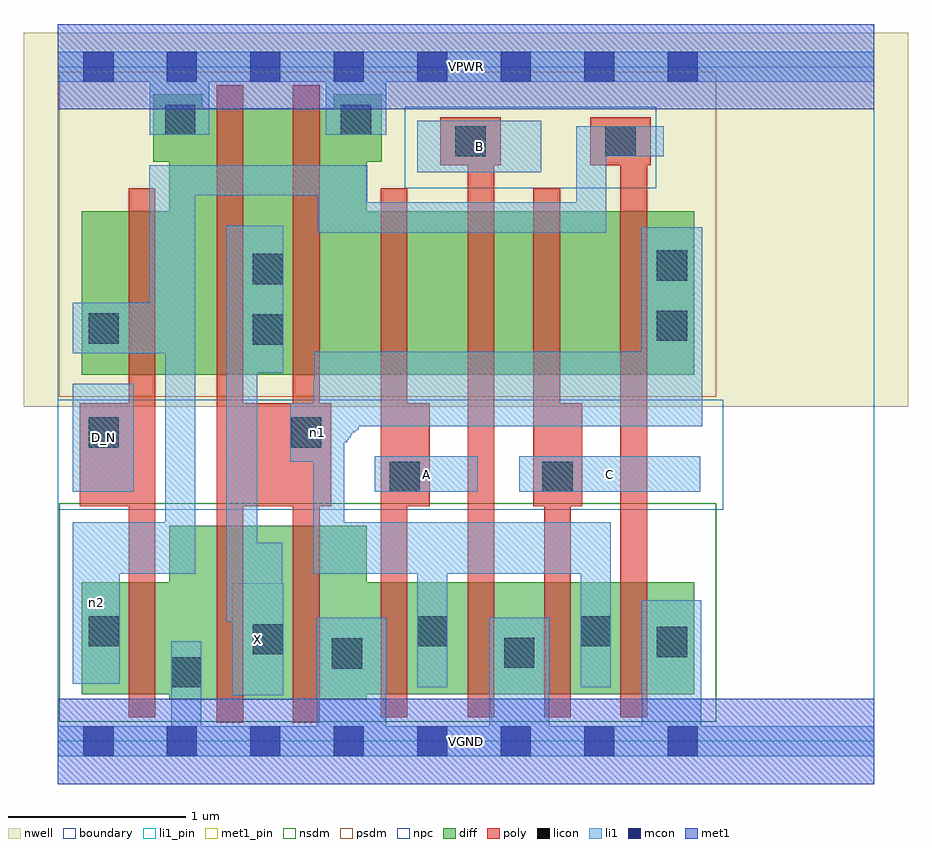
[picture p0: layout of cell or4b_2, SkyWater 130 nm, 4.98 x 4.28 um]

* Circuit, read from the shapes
.subckt or4b_2 A B C D_N VGND VPWR X n1 n2
XM1 VGND D_N n2 VSUBS sky130_fd_pr__nfet_01v8 w=0.63 l=0.15
XM2 X n1 VGND VSUBS sky130_fd_pr__nfet_01v8 w=0.98 l=0.15 m=2
XM3 n1 A VGND VSUBS sky130_fd_pr__nfet_01v8 w=0.63 l=0.15
XM4 VGND B n1 VSUBS sky130_fd_pr__nfet_01v8 w=0.63 l=0.15
XM5 n1 C VGND VSUBS sky130_fd_pr__nfet_01v8 w=0.63 l=0.15
XM6 VGND n2 n1 VSUBS sky130_fd_pr__nfet_01v8 w=0.63 l=0.15
XM7 VPWR D_N n2 n3 sky130_fd_pr__pfet_01v8 w=0.92 l=0.15
XM8 X n1 VPWR n3 sky130_fd_pr__pfet_01v8 w=1.5 l=0.15 m=2
XM9 n4 A VPWR n3 sky130_fd_pr__pfet_01v8 w=0.92 l=0.15
XM10 n5 B n4 n3 sky130_fd_pr__pfet_01v8 w=0.92 l=0.15
XM11 n6 C n5 n3 sky130_fd_pr__pfet_01v8 w=0.92 l=0.15
XM12 n1 n2 n6 n3 sky130_fd_pr__pfet_01v8 w=0.92 l=0.15
.ends

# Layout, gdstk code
import gdstk
lib = gdstk.Library(unit=1e-6, precision=1e-09)
def R(c, l, rs):  # rectangles x0, y0, x1, y1
    for r in rs: c.add(gdstk.rectangle(r[:2], r[2:], *l))
def A(c, l, x, y, w, h, nx, ny, dx, dy):  # array of equal rectangles
    R(c, l, [(x+i*dx, y+j*dy, x+i*dx+w, y+j*dy+h) for i in range(nx) for j in range(ny)])
nwell = (64, 20)
diff = (65, 20)
poly = (66, 20)
licon = (66, 44)
li1_pin = (67, 16)
li1 = (67, 20)
mcon = (67, 44)
met1_pin = (68, 16)
met1 = (68, 20)
nsdm = (93, 44)
psdm = (94, 20)
npc = (95, 20)
boundary = (235, 4)

or4b_2 = lib.new_cell('or4b_2')
R(or4b_2, nwell, [(-0.19,1.885,4.79,3.99), (0,1.885,4.6,3.99)])
R(or4b_2, diff, [(0.63,0.235,1.74,1.215), (0.135,0.265,3.585,0.895), (0.135,2.065,3.585,2.985), (0.63,2.065,1.74,3.565), (0.54,3.265,1.825,3.565), (0.54,3.265,0.815,3.645), (1.555,3.265,1.825,3.645)])
R(or4b_2, poly, [(0.895,0.105,1.045,3.695), (1.325,0.105,1.475,3.695), (0.4,0.135,0.55,3.115), (1.82,0.135,1.97,3.115), (2.31,0.135,2.46,3.515), (2.74,0.135,2.89,1.905), (3.17,0.135,3.32,3.515), (0.125,1.325,0.55,1.905), (0.895,1.325,1.54,1.905), (1.82,1.325,2.095,1.905), (2.68,1.325,2.955,1.905), (2.68,1.325,2.83,3.115), (2.155,3.245,2.495,3.515), (3,3.245,3.34,3.515)])
R(or4b_2, licon, [(0.64,0.305,0.81,0.475), (1.545,0.41,1.715,0.58), (2.515,0.415,2.685,0.585), (3.375,0.475,3.545,0.645), (1.1,0.49,1.27,0.66), (0.175,0.535,0.345,0.705), (2.025,0.535,2.195,0.705), (2.945,0.535,3.115,0.705), (1.87,1.405,2.04,1.575), (2.73,1.405,2.9,1.575), (0.175,1.655,0.345,1.825), (1.315,1.655,1.485,1.825), (1.1,2.235,1.27,2.405), (0.175,2.24,0.345,2.41), (3.375,2.255,3.545,2.425), (1.1,2.575,1.27,2.745), (3.375,2.595,3.545,2.765), (2.24,3.295,2.41,3.465), (3.085,3.295,3.255,3.465), (0.605,3.415,0.775,3.585), (1.595,3.415,1.765,3.585)])
R(or4b_2, li1_pin, [(0.985,0.26,1.27,0.89), (0.085,1.405,0.43,2.015), (1.785,1.405,2.365,1.605), (2.6,1.405,3.62,1.605), (2.025,3.205,2.725,3.495)])
R(or4b_2, li1, [(0,-0.085,4.6,0.085), (0.64,-0.085,0.81,0.565), (1.46,-0.085,1.85,0.695), (2.43,-0.085,2.77,0.695), (3.29,-0.085,3.625,0.795), (0.985,0.26,1.27,0.89), (2.025,0.305,2.195,1.235), (2.945,0.305,3.115,1.235), (0.085,0.325,0.35,1.235), (0.95,0.675,1.125,2.905), (0.95,0.675,1.265,1.12), (0.085,0.945,0.775,1.235), (0.605,0.945,0.775,3.245), (1.44,0.945,3.115,1.235), (1.44,0.945,1.615,2.03), (0.085,1.405,0.43,2.015), (1.785,1.405,2.365,1.605), (2.6,1.405,3.62,1.605), (1.31,1.575,1.615,1.905), (1.445,1.685,1.63,2.195), (1.445,1.7,1.64,2.195), (1.445,1.71,1.65,2.195), (1.445,1.72,1.655,2.195), (1.445,1.73,1.66,2.195), (1.445,1.74,1.675,2.195), (1.445,1.75,1.685,2.195), (1.445,1.755,1.695,2.195), (1.445,1.775,3.63,2.195), (3.29,1.775,3.63,2.895), (0.95,2.075,1.27,2.905), (0.085,2.185,0.775,2.47), (0.515,2.185,0.775,3.245), (1.465,2.865,3.09,3.035), (1.465,2.865,1.745,3.245), (2.92,2.865,3.09,3.465), (0.515,3.075,1.745,3.245), (2.025,3.205,2.725,3.495), (2.92,3.295,3.415,3.465), (0.52,3.415,0.855,3.885), (1.51,3.415,1.85,3.885), (0,3.715,4.6,3.885)])
A(or4b_2, mcon, 0.145, -0.085, 0.17, 0.17, 8, 2, 0.47, 3.8)
R(or4b_2, met1_pin, [(0,-0.24,4.6,0.24), (0,3.56,4.6,4.04)])
R(or4b_2, met1, [(0,-0.24,4.6,0.24), (0,3.56,4.6,4.04)])
R(or4b_2, nsdm, [(0.01,0.11,3.71,1.34)])
R(or4b_2, psdm, [(0.01,1.94,3.71,3.77)])
R(or4b_2, npc, [(0,1.305,3.75,1.925), (1.955,3.115,3.37,3.575)])
R(or4b_2, boundary, [(0,0,4.6,3.8)])
or4b_2.add(gdstk.Label('A', (2.075,1.505), layer=67, texttype=5))
or4b_2.add(gdstk.Label('B', (2.375,3.35), layer=67, texttype=5))
or4b_2.add(gdstk.Label('C', (3.11,1.505), layer=67, texttype=5))
or4b_2.add(gdstk.Label('D_N', (0.257,1.71), layer=67, texttype=5))
or4b_2.add(gdstk.Label('X', (1.127,0.575), layer=67, texttype=5))
or4b_2.add(gdstk.Label('n1', (1.462,1.74), layer=67, texttype=5))
or4b_2.add(gdstk.Label('n2', (0.217,0.78), layer=67, texttype=5))
or4b_2.add(gdstk.Label('VPWR', (2.3,3.8), layer=68, texttype=5))
or4b_2.add(gdstk.Label('VGND', (2.3,0), layer=68, texttype=5))
or4b_2.add(gdstk.Label('A', (2.075,1.505), layer=67, texttype=16))
or4b_2.add(gdstk.Label('B', (2.375,3.35), layer=67, texttype=16))
or4b_2.add(gdstk.Label('C', (3.11,1.505), layer=67, texttype=16))
or4b_2.add(gdstk.Label('D_N', (0.257,1.71), layer=67, texttype=16))
or4b_2.add(gdstk.Label('X', (1.127,0.575), layer=67, texttype=16))
or4b_2.add(gdstk.Label('VPWR', (2.3,3.8), layer=68, texttype=16))
or4b_2.add(gdstk.Label('VGND', (2.3,0), layer=68, texttype=16))

lib.write_gds('or4b_2.gds')
